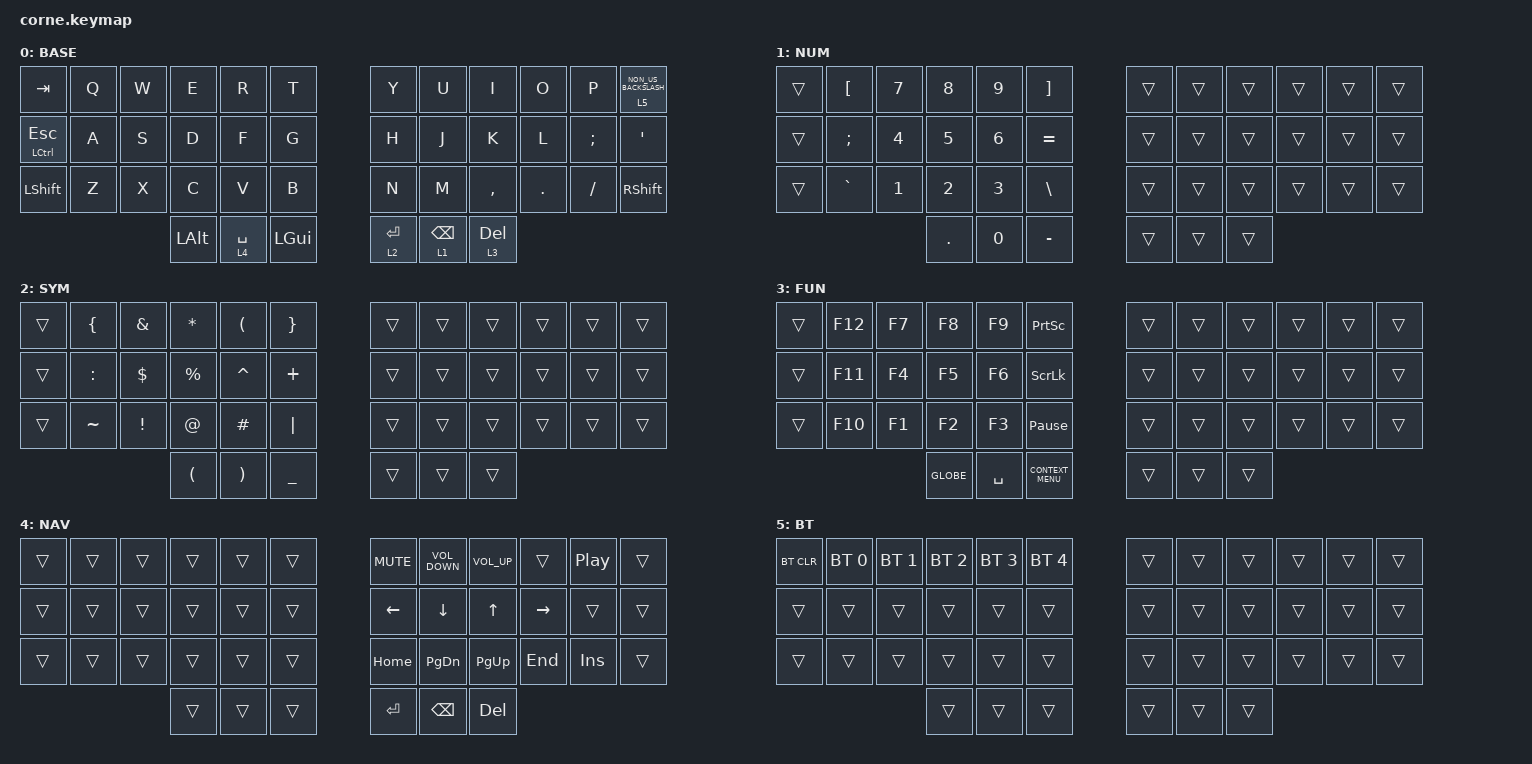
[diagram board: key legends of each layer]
/*
 * Copyright (c) 2020 The ZMK Contributors
 *
 * SPDX-License-Identifier: MIT
 */

#include <behaviors.dtsi>
#include <dt-bindings/zmk/bt.h>
#include <dt-bindings/zmk/keys.h>

/ {
    keymap {
        compatible = "zmk,keymap";

        BASE {
            // -----------------------------------------------------------------------------------------
            // |  TAB |  Q  |  W  |  E  |  R  |  T  |   |  Y  |  U   |  I  |  O  |  P  | BKSP |
            // | CTRL |  A  |  S  |  D  |  F  |  G  |   |  H  |  J   |  K  |  L  |  ;  |  '   |
            // | SHFT |  Z  |  X  |  C  |  V  |  B  |   |  N  |  M   |  ,  |  .  |  /  | ESC  |
            //                    | GUI | LWR | SPC |   | ENT | RSE  | ALT |

            bindings = <
&kp TAB                  &kp Q  &kp W  &kp E         &kp R        &kp T           &kp Y      &kp U            &kp I         &kp O    &kp P     &lt 5 NON_US_BACKSLASH
&mt LEFT_CONTROL ESCAPE  &kp A  &kp S  &kp D         &kp F        &kp G           &kp H      &kp J            &kp K         &kp L    &kp SEMI  &kp SQT
&kp LEFT_SHIFT           &kp Z  &kp X  &kp C         &kp V        &kp B           &kp N      &kp M            &kp COMMA     &kp DOT  &kp FSLH  &kp RIGHT_SHIFT
                                       &kp LEFT_ALT  &lt 4 SPACE  &kp LEFT_GUI    &lt 2 RET  &lt 1 BACKSPACE  &lt 3 DELETE
            >;

            label = "BASE";
        };

        NUM {
            bindings = <
&trans  &kp LBKT   &kp N7  &kp N8      &kp N9  &kp RBKT     &trans  &trans  &trans  &trans  &trans  &trans
&trans  &kp SEMI   &kp N4  &kp N5      &kp N6  &kp EQUAL    &trans  &trans  &trans  &trans  &trans  &trans
&trans  &kp GRAVE  &kp N1  &kp N2      &kp N3  &kp BSLH     &trans  &trans  &trans  &trans  &trans  &trans
                           &kp PERIOD  &kp N0  &kp MINUS    &trans  &trans  &trans
            >;

            label = "NUM";
        };

        SYM {
            bindings = <
&trans  &kp LEFT_BRACE  &kp AMPERSAND    &kp ASTERISK          &kp LEFT_PARENTHESIS   &kp RIGHT_BRACE    &trans  &trans  &trans  &trans  &trans  &trans
&trans  &kp COLON       &kp DOLLAR       &kp PERCENT           &kp CARET              &kp PLUS           &trans  &trans  &trans  &trans  &trans  &trans
&trans  &kp TILDE       &kp EXCLAMATION  &kp AT_SIGN           &kp HASH               &kp PIPE           &trans  &trans  &trans  &trans  &trans  &trans
                                         &kp LEFT_PARENTHESIS  &kp RIGHT_PARENTHESIS  &kp UNDERSCORE     &trans  &trans  &trans
            >;

            label = "SYM";
        };

        FUN {
            bindings = <
&trans  &kp F12  &kp F7  &kp F8     &kp F9     &kp PRINTSCREEN       &trans  &trans  &trans  &trans  &trans  &trans
&trans  &kp F11  &kp F4  &kp F5     &kp F6     &kp SCROLLLOCK        &trans  &trans  &trans  &trans  &trans  &trans
&trans  &kp F10  &kp F1  &kp F2     &kp F3     &kp PAUSE_BREAK       &trans  &trans  &trans  &trans  &trans  &trans
                         &kp GLOBE  &kp SPACE  &kp K_CONTEXT_MENU    &trans  &trans  &trans
            >;

            label = "FUN";
        };

        NAV {
            bindings = <
&trans  &trans  &trans  &trans  &trans  &trans    &kp C_MUTE  &kp C_VOLUME_DOWN  &kp C_VOLUME_UP  &trans     &kp C_PLAY_PAUSE  &trans
&trans  &trans  &trans  &trans  &trans  &trans    &kp LEFT    &kp DOWN           &kp UP           &kp RIGHT  &trans            &trans
&trans  &trans  &trans  &trans  &trans  &trans    &kp HOME    &kp PAGE_DOWN      &kp PAGE_UP      &kp END    &kp INSERT        &trans
                        &trans  &trans  &trans    &kp RET     &kp BACKSPACE      &kp DELETE
            >;

            label = "NAV";
        };

        BT {
            bindings = <
&bt BT_CLR  &bt BT_SEL 0  &bt BT_SEL 1  &bt BT_SEL 2  &bt BT_SEL 3  &bt BT_SEL 4    &trans  &trans  &trans  &trans  &trans  &trans
&trans      &trans        &trans        &trans        &trans        &trans          &trans  &trans  &trans  &trans  &trans  &trans
&trans      &trans        &trans        &trans        &trans        &trans          &trans  &trans  &trans  &trans  &trans  &trans
                                        &trans        &trans        &trans          &trans  &trans  &trans
            >;

            label = "BT";
        };
    };
};
